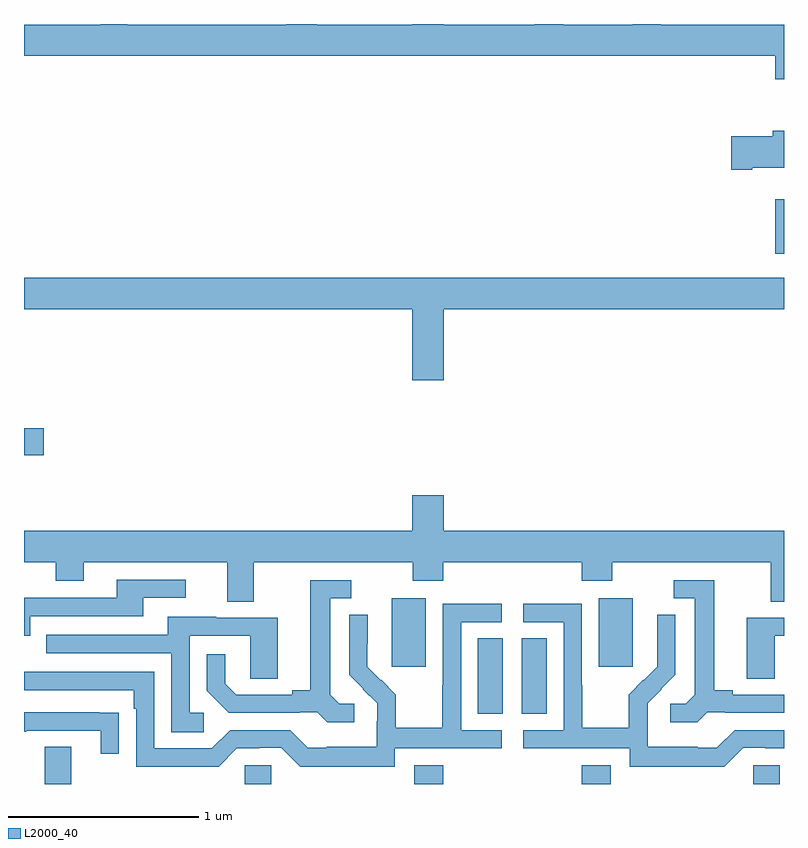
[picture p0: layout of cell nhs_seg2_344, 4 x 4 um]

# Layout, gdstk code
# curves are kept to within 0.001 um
import gdstk
lib = gdstk.Library(unit=1e-6, precision=1e-09)
def R(c, l, rs):  # rectangles x0, y0, x1, y1
    for r in rs: c.add(gdstk.rectangle(r[:2], r[2:], *l))
def P(c, l, *ps):  # polygons
    for p in ps: c.add(gdstk.Polygon(p, *l))
L2000_40 = (2000, 40)

nhs_seg2_344 = lib.new_cell('nhs_seg2_344')
R(nhs_seg2_344, L2000_40, [(127.109,647.8,127.249,647.995), (128.163,647.8,128.301,647.898), (129.053,647.8,129.206,647.899), (129.935,647.8,130.087,647.899), (130.839,647.8,130.977,647.898), (129.389,648.169,129.52,648.566), (129.62,648.169,129.751,648.566), (128.936,648.417,129.115,648.778), (130.025,648.417,130.204,648.778), (127,649.531,127.105,649.673), (130.955,650.592,131,650.878)])
P(nhs_seg2_344, L2000_40, [(131,651.796),(130.35,651.796),(130.35,651.8),(130.204,651.8),(130.204,651.796),(129.837,651.796),(129.837,651.8),(129.689,651.8),(129.689,651.796),(129.208,651.796),(129.208,651.8),(129.044,651.8),(129.044,651.796),(128.54,651.796),(128.54,651.8),(128.38,651.8),(128.38,651.796),(127.543,651.796),(127.543,651.8),(127.403,651.8),(127.403,651.796),(127,651.796),(127,651.632),(130.955,651.632),(130.955,651.508),(131,651.508)],
  [(130.834,651.044),(131,651.044),(131,651.238),(130.94,651.238),(130.94,651.21),(130.722,651.21),(130.722,651.032),(130.834,651.032)],
  [(129.208,650.3),(131,650.3),(131,650.464),(127,650.464),(127,650.3),(129.044,650.3),(129.044,649.926),(129.208,649.926)],
  [(128.209,648.968),(129.046,648.968),(129.046,648.869),(129.206,648.869),(129.206,648.968),(129.935,648.968),(129.935,648.869),(130.095,648.869),(130.095,648.968),(130.931,648.968),(130.931,648.76),(131,648.76),(131,649.132),(129.208,649.132),(129.208,649.321),(129.044,649.321),(129.044,649.132),(127,649.132),(127,648.968),(127.168,648.968),(127.168,648.869),(127.315,648.869),(127.315,648.968),(128.069,648.968),(128.069,648.76),(128.209,648.76)],
  [(127.032,648.684),(127.627,648.684),(127.627,648.78),(127.852,648.78),(127.852,648.876),(127.487,648.876),(127.487,648.78),(127,648.78),(127,648.581),(127.032,648.581)],
  [(128.739,648.222),(128.658,648.222),(128.611,648.269),(128.611,648.777),(128.722,648.777),(128.722,648.873),(128.507,648.873),(128.507,648.293),(128.411,648.293),(128.411,648.27),(128.116,648.27),(128.059,648.327),(128.059,648.484),(127.962,648.484),(127.962,648.29),(128.078,648.174),(128.45,648.174),(128.45,648.177),(128.544,648.177),(128.596,648.125),(128.739,648.125)],
  [(130.596,648.177),(130.69,648.177),(130.69,648.174),(131,648.174),(131,648.27),(130.729,648.27),(130.729,648.293),(130.633,648.293),(130.633,648.873),(130.419,648.873),(130.419,648.777),(130.529,648.777),(130.529,648.269),(130.482,648.222),(130.401,648.222),(130.401,648.125),(130.544,648.125)],
  [(130.785,647.991),(130.901,647.991),(130.901,647.988),(131,647.988),(131,648.084),(130.74,648.084),(130.647,647.991),(130.547,647.991),(130.547,647.995),(130.284,647.995),(130.284,648.129),(130.282,648.129),(130.282,648.226),(130.428,648.374),(130.428,648.692),(130.332,648.692),(130.332,648.538),(130.334,648.538),(130.334,648.416),(130.263,648.345),(130.26,648.348),(130.183,648.271),(130.183,648.097),(129.939,648.097),(129.939,648.32),(129.936,648.32),(129.936,648.75),(129.627,648.75),(129.627,648.651),(129.84,648.651),(129.84,648.084),(129.627,648.084),(129.627,647.988),(130.188,647.988),(130.188,647.891),(130.685,647.891)],
  [(128.952,647.988),(129.514,647.988),(129.514,648.084),(129.3,648.084),(129.3,648.651),(129.514,648.651),(129.514,648.75),(129.204,648.75),(129.204,648.32),(129.202,648.32),(129.202,648.097),(128.957,648.097),(128.957,648.271),(128.88,648.348),(128.877,648.345),(128.807,648.416),(128.808,648.692),(128.712,648.692),(128.712,648.374),(128.858,648.226),(128.858,648.129),(128.856,648.129),(128.856,647.995),(128.593,647.995),(128.593,647.991),(128.493,647.991),(128.4,648.084),(128.085,648.084),(127.989,647.988),(127.686,647.988),(127.686,648.39),(127,648.39),(127,648.294),(127.577,648.294),(127.577,648.197),(127.59,648.197),(127.59,647.892),(128.025,647.892),(128.121,647.988),(128.239,647.988),(128.239,647.991),(128.355,647.991),(128.455,647.891),(128.952,647.891)],
  [(127.945,648.174),(127.872,648.174),(127.872,648.579),(128.19,648.579),(128.19,648.355),(128.335,648.355),(128.335,648.675),(128.011,648.675),(128.011,648.679),(127.757,648.679),(127.757,648.585),(127.117,648.585),(127.117,648.489),(127.776,648.489),(127.776,648.073),(127.945,648.073)],
  [(130.95,648.579),(131,648.579),(131,648.675),(130.805,648.675),(130.805,648.355),(130.95,648.355)],
  [(127.499,648.176),(127.397,648.176),(127.397,648.177),(127,648.177),(127,648.076),(127.013,648.076),(127.013,648.081),(127.403,648.081),(127.403,647.958),(127.499,647.958)])

lib.write_gds('nhs_seg2_344.gds')
